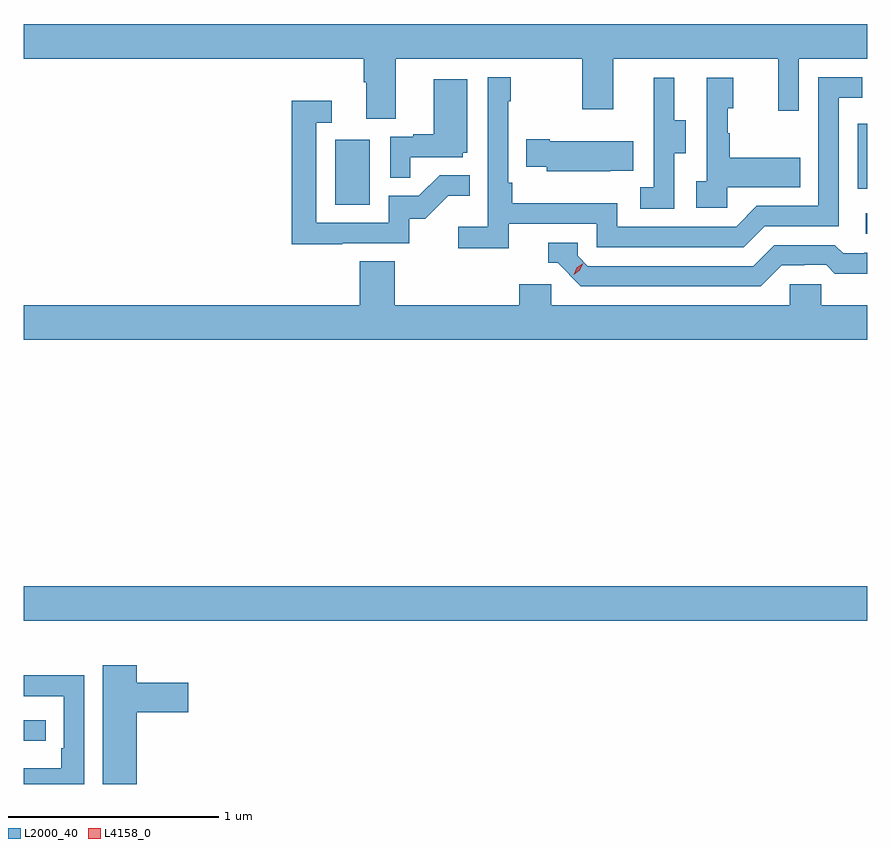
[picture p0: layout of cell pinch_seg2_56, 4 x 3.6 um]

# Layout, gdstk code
import gdstk
lib = gdstk.Library(unit=1e-6, precision=1e-09)
def R(c, l, rs):  # rectangles x0, y0, x1, y1
    for r in rs: c.add(gdstk.rectangle(r[:2], r[2:], *l))
def P(c, l, *ps):  # polygons
    for p in ps: c.add(gdstk.Polygon(p, *l))
L2000_40 = (2000, 40)
L4158_0 = (4158, 0)

pinch_seg2_56 = lib.new_cell('pinch_seg2_56')
R(pinch_seg2_56, L2000_40, [(1043.407,661.719,1043.512,661.815), (1043.407,662.288,1047.407,662.452), (1047.399,664.122,1047.407,664.218), (1044.884,664.26,1045.048,664.567), (1047.36,664.335,1047.407,664.644)])
P(pinch_seg2_56, L2000_40, [(1045.171,664.952),(1046.055,664.952),(1046.055,664.713),(1046.203,664.713),(1046.203,664.952),(1046.984,664.952),(1046.984,664.704),(1047.081,664.704),(1047.081,664.952),(1047.407,664.952),(1047.407,665.116),(1043.407,665.116),(1043.407,664.952),(1045.019,664.952),(1045.019,664.84),(1045.031,664.84),(1045.031,664.666),(1045.171,664.666)],
  [(1045.706,664.17),(1046.124,664.17),(1046.124,664.059),(1046.821,664.059),(1046.92,664.158),(1047.27,664.158),(1047.27,664.767),(1047.383,664.767),(1047.383,664.863),(1047.174,664.863),(1047.174,664.254),(1046.883,664.254),(1046.784,664.155),(1046.22,664.155),(1046.22,664.267),(1045.724,664.267),(1045.724,664.363),(1045.704,664.363),(1045.704,664.751),(1045.717,664.751),(1045.717,664.864),(1045.608,664.864),(1045.608,664.156),(1045.467,664.156),(1045.467,664.054),(1045.706,664.054)],
  [(1046.49,664.504),(1046.545,664.504),(1046.545,664.659),(1046.491,664.659),(1046.491,664.861),(1046.393,664.861),(1046.393,664.647),(1046.394,664.647),(1046.394,664.343),(1046.331,664.343),(1046.331,664.24),(1046.49,664.24)],
  [(1046.742,664.343),(1047.089,664.343),(1047.089,664.483),(1046.755,664.483),(1046.755,664.598),(1046.745,664.598),(1046.745,664.716),(1046.77,664.716),(1046.77,664.861),(1046.646,664.861),(1046.646,664.37),(1046.595,664.37),(1046.595,664.245),(1046.742,664.245)],
  [(1045.241,664.485),(1045.488,664.485),(1045.488,664.506),(1045.51,664.506),(1045.51,664.855),(1045.352,664.855),(1045.352,664.594),(1045.253,664.594),(1045.253,664.581),(1045.146,664.581),(1045.146,664.387),(1045.241,664.387)],
  [(1044.917,664.077),(1045.236,664.077),(1045.236,664.194),(1045.312,664.194),(1045.419,664.301),(1045.523,664.301),(1045.523,664.4),(1045.379,664.4),(1045.281,664.302),(1045.137,664.302),(1045.137,664.173),(1044.795,664.173),(1044.795,664.647),(1044.868,664.647),(1044.868,664.753),(1044.679,664.753),(1044.679,664.072),(1044.917,664.072)],
  [(1046.189,664.421),(1046.297,664.421),(1046.297,664.561),(1045.9,664.561),(1045.9,664.569),(1045.789,664.569),(1045.789,664.439),(1045.887,664.439),(1045.887,664.418),(1046.189,664.418)],
  [(1047.001,663.972),(1047.108,663.972),(1047.108,663.975),(1047.211,663.975),(1047.253,663.933),(1047.407,663.933),(1047.407,664.032),(1047.391,664.032),(1047.391,664.029),(1047.292,664.029),(1047.253,664.068),(1046.964,664.068),(1046.865,663.969),(1046.082,663.969),(1046.034,664.017),(1046.034,664.08),(1045.895,664.08),(1045.895,663.984),(1045.938,663.984),(1046.049,663.873),(1046.902,663.873)],
  [(1047.407,663.784),(1047.189,663.784),(1047.189,663.882),(1047.039,663.882),(1047.039,663.784),(1045.908,663.784),(1045.908,663.882),(1045.757,663.882),(1045.757,663.784),(1045.166,663.784),(1045.166,663.992),(1045.001,663.992),(1045.001,663.784),(1043.407,663.784),(1043.407,663.62),(1047.407,663.62)],
  [(1043.944,661.853),(1044.187,661.853),(1044.187,661.995),(1043.944,661.995),(1043.944,662.077),(1043.783,662.077),(1043.783,661.514),(1043.944,661.514)],
  [(1043.694,662.03),(1043.407,662.03),(1043.407,661.929),(1043.598,661.929),(1043.598,661.684),(1043.585,661.684),(1043.585,661.588),(1043.407,661.588),(1043.407,661.514),(1043.694,661.514)])
P(pinch_seg2_56, L4158_0, [(1046.014,663.928),(1046.014,663.928),(1046.029,663.961),(1046.06,663.981),(1046.06,663.981),(1046.06,663.981),(1046.044,663.948),(1046.014,663.928)])

lib.write_gds('pinch_seg2_56.gds')
